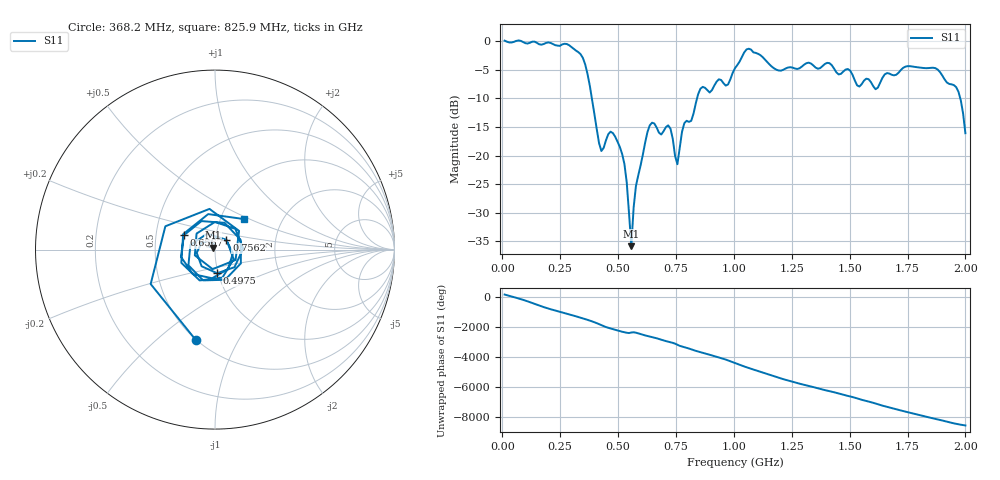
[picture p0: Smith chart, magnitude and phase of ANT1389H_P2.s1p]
!Created with skrf (http://scikit-rf.org).
# Hz S RI R 50.0
!freq ReS11 ImS11
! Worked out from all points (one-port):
!   201 points, 10 MHz to 2 GHz, reference 50 ohm
!   lowest |S11| = -35.9 dB at 557.2 MHz (marker M1), VSWR 1.03, Z = 48.8 + j1.07 ohm
!   |S11| at or under -10 dB: 386.9 MHz to 841.1 MHz (454.2 MHz wide, 74 % of centre); 1.978 GHz to end of sweep
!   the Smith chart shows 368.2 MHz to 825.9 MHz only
!   S11 on the Smith chart (normalised r, x): 368.2 MHz: 0.50, -0.68; 497.6 MHz: 0.99, -0.27; 656.8 MHz: 0.70, +0.12; 756.2 MHz: 1.13, +0.12; 825.9 MHz: 1.28, +0.46
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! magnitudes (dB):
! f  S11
! 10 MHz  0.1
! 258.8 MHz  -0.5
! 338.4 MHz  -2.3
! 368.2 MHz  -5.8
! 427.9 MHz  -19.2
! 467.7 MHz  -15.8
! 497.6 MHz  -17.6
! 507.5 MHz  -18.5
! 537.4 MHz  -24.7
! 557.2 MHz  -35.9
! 577.1 MHz  -25.3
! 626.9 MHz  -15.9
! 656.8 MHz  -14.4
! 726.4 MHz  -15.3
! 756.2 MHz  -21.5
! 786.1 MHz  -14.3
! 825.9 MHz  -12.6
! 855.8 MHz  -8.3
! 975.1 MHz  -7.5
! 1.005 GHz  -4.7
! 1.065 GHz  -1.3
! 1.254 GHz  -4.6
! 1.502 GHz  -5.1
! 1.612 GHz  -8.4
! 1.751 GHz  -4.3
! 1.96 GHz  -8.0
! 1.98 GHz  -10.3
! 2 GHz  -16.1
